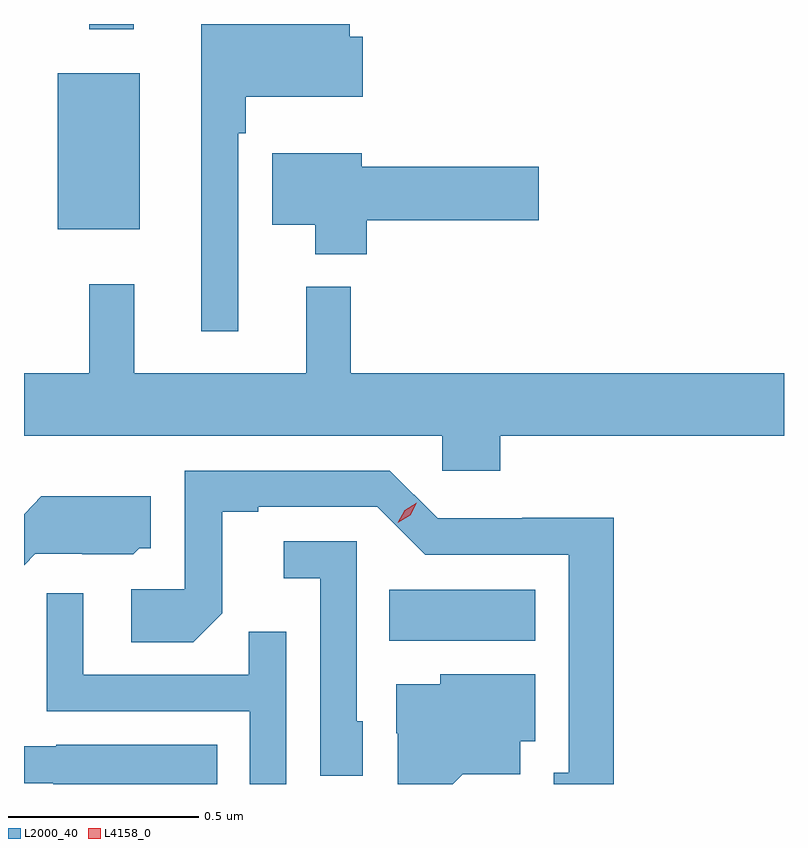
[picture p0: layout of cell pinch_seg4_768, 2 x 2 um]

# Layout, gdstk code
import gdstk
lib = gdstk.Library(unit=1e-6, precision=1e-09)
def R(c, l, rs):  # rectangles x0, y0, x1, y1
    for r in rs: c.add(gdstk.rectangle(r[:2], r[2:], *l))
def P(c, l, *ps):  # polygons
    for p in ps: c.add(gdstk.Polygon(p, *l))
L2000_40 = (2000, 40)
L4158_0 = (4158, 0)

pinch_seg4_768 = lib.new_cell('pinch_seg4_768')
R(pinch_seg4_768, L2000_40, [(779.17,818.924,779.554,819.058), (778.298,820.007,778.513,820.417), (778.381,820.533,778.498,820.547)])
P(pinch_seg4_768, L2000_40, [(778.773,820.259),(778.793,820.259),(778.793,820.355),(779.101,820.355),(779.101,820.513),(779.066,820.513),(779.066,820.547),(778.676,820.547),(778.676,819.738),(778.773,819.738)],
  [(779.111,820.03),(779.563,820.03),(779.563,820.172),(779.098,820.172),(779.098,820.207),(778.862,820.207),(778.862,820.019),(778.976,820.019),(778.976,819.941),(779.111,819.941)],
  [(779.462,819.464),(780.209,819.464),(780.209,819.628),(779.069,819.628),(779.069,819.856),(778.952,819.856),(778.952,819.628),(778.499,819.628),(778.499,819.862),(778.381,819.862),(778.381,819.628),(778.209,819.628),(778.209,819.464),(779.31,819.464),(779.31,819.371),(779.462,819.371)],
  [(779.761,819.248),(779.52,819.248),(779.52,819.246),(779.298,819.246),(779.172,819.372),(778.632,819.372),(778.632,819.06),(778.491,819.06),(778.491,818.92),(778.655,818.92),(778.731,818.996),(778.731,819.264),(778.825,819.264),(778.825,819.276),(779.139,819.276),(779.265,819.15),(779.642,819.15),(779.642,818.577),(779.603,818.577),(779.603,818.547),(779.761,818.547)],
  [(778.239,819.153),(778.362,819.153),(778.362,819.152),(778.496,819.152),(778.512,819.168),(778.543,819.168),(778.543,819.304),(778.255,819.304),(778.209,819.257),(778.209,819.123)],
  [(779.1,818.712),(779.085,818.712),(779.085,819.186),(778.893,819.186),(778.893,819.089),(778.989,819.089),(778.989,818.569),(779.1,818.569)],
  [(778.899,818.948),(778.801,818.948),(778.801,818.835),(778.365,818.835),(778.365,819.049),(778.269,819.049),(778.269,818.739),(778.803,818.739),(778.803,818.547),(778.899,818.547)],
  [(779.363,818.573),(779.515,818.573),(779.515,818.66),(779.554,818.66),(779.554,818.836),(779.304,818.836),(779.304,818.809),(779.189,818.809),(779.189,818.68),(779.193,818.68),(779.193,818.547),(779.337,818.547)],
  [(778.718,818.65),(778.294,818.65),(778.294,818.646),(778.209,818.646),(778.209,818.549),(778.286,818.549),(778.286,818.547),(778.718,818.547)])
P(pinch_seg4_768, L4158_0, [(779.193,819.235),(779.193,819.235),(779.211,819.268),(779.242,819.287),(779.243,819.287),(779.243,819.287),(779.225,819.254),(779.193,819.235)])

lib.write_gds('pinch_seg4_768.gds')
